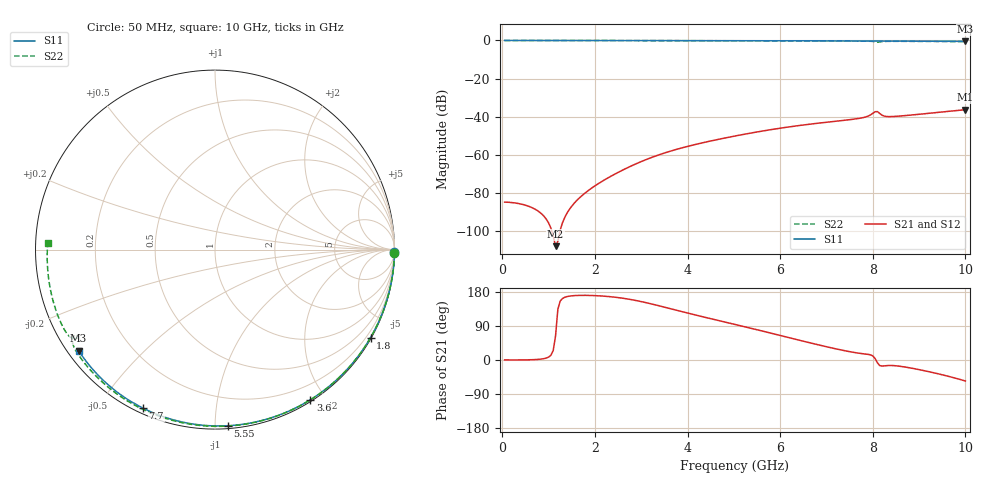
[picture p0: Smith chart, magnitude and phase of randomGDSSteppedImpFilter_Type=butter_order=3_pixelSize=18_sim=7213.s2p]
! freq	dB(S11)	phase(S11)	dB(S12)	phase(S12)
!  dB(S21)	phase(S21)	dB(S22)	phase(S22)
!S-par simulation data
#  GHz  S  DB  R 50
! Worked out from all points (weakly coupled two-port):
!   200 points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, 50 MHz to 10 GHz, reference 50 ohm
!   highest |S21| = -36.30 dB at 10 GHz (marker M1); lowest = -107.9 dB at 1.15 GHz (marker M2)
!   lowest |S11| = -0.5 dB at 10 GHz (marker M3), VSWR 35.69, Z = 1.55 - j16.5 ohm
!   |S11| at or under -10 dB: nowhere
!   |S22| runs from -0.9 to 0.0 dB; largest |S21 - S12| = 0
!   S11 on the Smith chart (normalised r, x): 50 MHz: open; 1.8 GHz: 0.03, -3.80; 3.6 GHz: 0.02, -1.82; 5.55 GHz: 0.02, -1.08; 7.7 GHz: 0.02, -0.64; 10 GHz: 0.03, -0.33
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0.05  -0.00 -0.8  -84.76 0.4  -84.76 0.4  -0.00 -1.0
1.15  -0.02 -19.0  -107.87 63.6  -107.87 63.6  -0.03 -23.2
1.75  -0.04 -28.7  -80.74 170.6  -80.74 170.6  -0.04 -35.1
1.8  -0.04 -29.5  -79.75 170.6  -79.75 170.6  -0.05 -36.0
2.15  -0.05 -35.1  -73.93 168.9  -73.93 168.9  -0.05 -42.8
2.55  -0.05 -41.4  -68.57 163.9  -68.57 163.9  -0.06 -50.5
2.95  -0.06 -47.6  -64.02 155.4  -64.02 155.4  -0.08 -58.1
3.4  -0.07 -54.5  -59.83 142.6  -59.83 142.6  -0.09 -66.5
3.6  -0.08 -57.6  -58.26 136.4  -58.26 136.4  -0.09 -70.1
4.3  -0.10 -68.0  -53.79 114.9  -53.79 114.9  -0.12 -82.8
5.05  -0.12 -78.8  -49.98 93.1  -49.98 93.1  -0.15 -95.9
5.55  -0.14 -85.8  -47.77 78.4  -47.77 78.4  -0.17 -104.5
6.7  -0.20 -101.3  -43.73 43.6  -43.73 43.6  -0.24 -124.0
7.7  -0.26 -114.4  -40.88 17.9  -40.88 17.9  -0.34 -141.4
7.9  -0.28 -117.0  -39.67 14.8  -39.67 14.8  -0.40 -145.3
8.05  -0.29 -118.9  -37.37 3.9  -37.37 3.9  -0.65 -148.6
8.1  -0.29 -119.5  -37.30 -7.3  -37.30 -7.3  -0.87 -148.3
8.15  -0.30 -120.2  -38.29 -14.6  -38.29 -14.6  -0.79 -147.2
8.25  -0.31 -121.4  -39.67 -15.4  -39.67 -15.4  -0.51 -148.9
8.35  -0.31 -122.7  -39.93 -14.4  -39.93 -14.4  -0.45 -151.0
9.15  -0.39 -132.8  -38.36 -29.2  -38.36 -29.2  -0.50 -166.0
10  -0.49 -143.5  -36.30 -55.4  -36.30 -55.4  -0.60 177.8
